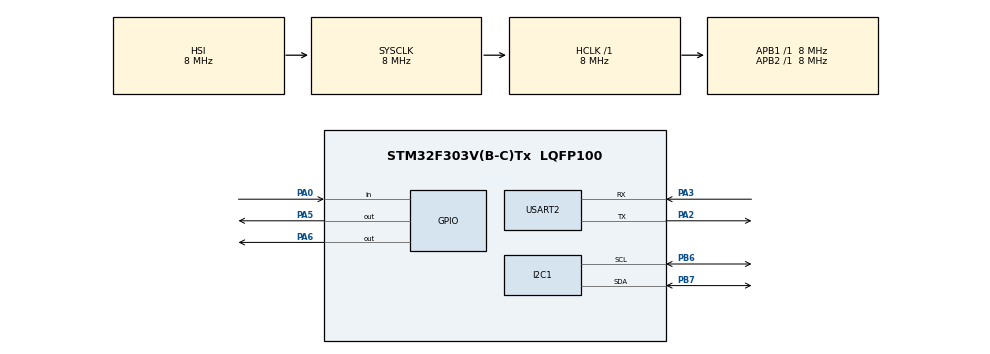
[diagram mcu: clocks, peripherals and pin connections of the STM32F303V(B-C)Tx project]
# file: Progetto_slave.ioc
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I2C1.Timing=0x00201D2B
Mcu.Family=STM32F3
Mcu.Name=STM32F303V(B-C)Tx
Mcu.Package=LQFP100
NVIC.PriorityGroup=NVIC_PRIORITYGROUP_4
NVIC.TIM2_IRQn=true\:0\:0\:false\:false\:true\:true\:true\:true
NVIC.USART2_IRQn=true\:0\:0\:false\:false\:true\:true\:true\:true
PA0.Signal=GPIO_Input
PA2.Mode=Asynchronous
PA2.Signal=USART2_TX
PA3.Mode=Asynchronous
PA3.Signal=USART2_RX
PA5.Signal=GPIO_Output
PA6.Signal=GPIO_Output
PB6.Mode=I2C
PB6.Signal=I2C1_SCL
PB7.Mode=I2C
PB7.Signal=I2C1_SDA
ProjectManager.HeapSize=0x200
ProjectManager.StackSize=0x400
ProjectManager.TargetToolchain=STM32CubeIDE
RCC.AHBFreq_Value=8000000
RCC.APB1Freq_Value=8000000
RCC.APB2Freq_Value=8000000
RCC.CortexFreq_Value=8000000
RCC.HSE_VALUE=8000000
RCC.HSI_VALUE=8000000
RCC.LSE_VALUE=32768
RCC.SYSCLKFreq_VALUE=8000000
USART2.VirtualMode-Asynchronous=VM_ASYNC
VP_TIM2_VS_ClockSourceINT.Mode=Internal
board=custom

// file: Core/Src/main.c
/* USER CODE BEGIN Header */
/**
  ******************************************************************************
  * @file           : main.c
  * @brief          : Slave - Player Controller for Reaction Game with OLED
  *                   STM32F303 Discovery Board
  ******************************************************************************
  */
/* USER CODE END Header */
#include "main.h"
#include <stdio.h>
#include <string.h>

/* USER CODE BEGIN Includes */
#include "ssd1306.h"
#include "ssd1306_fonts.h"
/* USER CODE END Includes */

/* USER CODE BEGIN PTD */
typedef enum {
    SLAVE_IDLE,
    SLAVE_READY,
    SLAVE_BUTTON_PRESSED,
    SLAVE_SHOW_RESULT
} SlaveState_t;
/* USER CODE END PTD */

/* USER CODE BEGIN PD */
#define UART_RX_BUFFER_SIZE 64
#define LED_PIN GPIO_PIN_5          // LED esterno su PA5
#define BUZZER_PIN GPIO_PIN_6       // Buzzer su PA6
#define USER_BUTTON_PIN GPIO_PIN_0  // User button su PA0
#define BUZZER_DURATION 500         // Durata suono buzzer in ms
/* USER CODE END PD */

I2C_HandleTypeDef hi2c1;
TIM_HandleTypeDef htim2;
UART_HandleTypeDef huart2;

/* USER CODE BEGIN PV */
volatile SlaveState_t slave_state = SLAVE_IDLE;
volatile uint8_t button_pressed = 0;
volatile uint32_t button_press_time = 0;
volatile uint8_t game_active = 0;
volatile uint32_t buzzer_start_time = 0;
volatile uint8_t buzzer_active = 0;
volatile uint32_t go_received_time = 0;
volatile uint8_t show_result = 0;
volatile uint8_t player_won = 0;  // 1 = vittoria, 0 = sconfitta
volatile uint32_t result_start_time = 0;  // ✅ NUOVO: tempo inizio visualizzazione risultato

uint8_t uart_rx_buffer[UART_RX_BUFFER_SIZE];
volatile uint8_t uart_rx_index = 0;

char tx_buffer[64];
char display_buffer[32];
/* USER CODE END PV */

void SystemClock_Config(void);
static void MX_GPIO_Init(void);
static void MX_I2C1_Init(void);
static void MX_TIM2_Init(void);
static void MX_USART2_UART_Init(void);
/* USER CODE BEGIN PFP */
void ProcessUARTCommand(uint8_t *buffer, uint8_t len);
void SendReactionTime(uint32_t timestamp);
uint32_t GetCurrentTime(void);
void ActivateBuzzer(void);
void DeactivateBuzzer(void);
void ResetSlave(void);
void ShowGameResult(uint8_t won);
void DisplayIdleScreen(void);
void DisplayReadyScreen(void);
void DisplayGoScreen(void);
void DisplayPressedScreen(void);
/* USER CODE END PFP */

int main(void)
{

  /* MCU Configuration--------------------------------------------------------*/

  /* Reset of all peripherals, Initializes the Flash interface and the Systick. */
  HAL_Init();

  /* Configure the system clock */
  SystemClock_Config();

  /* Initialize all configured peripherals */
  MX_GPIO_Init();
  MX_I2C1_Init();
  MX_TIM2_Init();
  MX_USART2_UART_Init();
  /* USER CODE BEGIN 2 */

  // Inizializza timer per timestamp
  HAL_TIM_Base_Start(&htim2);

  // Inizializza LED e buzzer spenti
  HAL_GPIO_WritePin(GPIOA, LED_PIN, GPIO_PIN_RESET);
  HAL_GPIO_WritePin(GPIOA, BUZZER_PIN, GPIO_PIN_RESET);

  // Inizializza display OLED
  HAL_Delay(100);
  ssd1306_Init();
  DisplayIdleScreen();

  // Abilita ricezione UART interrupt
  HAL_UART_Receive_IT(&huart2, &uart_rx_buffer[uart_rx_index], 1);

  // Stato iniziale
  slave_state = SLAVE_IDLE;

  /* USER CODE END 2 */

  /* Infinite loop */
  while (1)
  {

    /* USER CODE BEGIN 3 */
    uint32_t current_time = GetCurrentTime();

    // Gestione buzzer con timeout
    if (buzzer_active && (current_time - buzzer_start_time >= BUZZER_DURATION)) {
        DeactivateBuzzer();
    }

    switch(slave_state) {
        case SLAVE_IDLE:
            // Aspetta comando di reset/start dal master
            break;

        case SLAVE_READY:
            // Aspetta pressione del user button
            if (HAL_GPIO_ReadPin(GPIOA, USER_BUTTON_PIN) == GPIO_PIN_SET && !button_pressed) {
                button_pressed = 1;
                button_press_time = current_time;
                slave_state = SLAVE_BUTTON_PRESSED;

                // Attiva LED e buzzer
                HAL_GPIO_WritePin(GPIOA, LED_PIN, GPIO_PIN_SET);
                ActivateBuzzer();

                // Mostra messaggio di pressione
                DisplayPressedScreen();

                // Invia tempo di reazione al master
                SendReactionTime(button_press_time);
            }
            break;

        case SLAVE_BUTTON_PRESSED:
            // Aspetta rilascio del pulsante e comando di reset
            if (HAL_GPIO_ReadPin(GPIOA, USER_BUTTON_PIN) == GPIO_PIN_RESET) {
                button_pressed = 0;
            }
            break;

        case SLAVE_SHOW_RESULT:
            // Mostra risultato per 5 secondi poi torna a idle
            // Usa result_start_time invece di HAL_Delay
            if (current_time - result_start_time >= 5000) {
                slave_state = SLAVE_IDLE;
                DisplayIdleScreen();
            }
            break;
    }

    HAL_Delay(5); // Piccolo delay per ridurre carico CPU
  }
  /* USER CODE END 3 */
}

void SystemClock_Config(void)
{
  RCC_OscInitTypeDef RCC_OscInitStruct = {0};
  RCC_ClkInitTypeDef RCC_ClkInitStruct = {0};

  /** Initializes the RCC Oscillators according to the specified parameters
  * in the RCC_OscInitTypeDef structure.
  */
  RCC_OscInitStruct.OscillatorType = RCC_OSCILLATORTYPE_HSI;
  RCC_OscInitStruct.HSIState = RCC_HSI_ON;
  RCC_OscInitStruct.HSICalibrationValue = RCC_HSICALIBRATION_DEFAULT;
  RCC_OscInitStruct.PLL.PLLState = RCC_PLL_NONE;
  if (HAL_RCC_OscConfig(&RCC_OscInitStruct) != HAL_OK)
  {
    Error_Handler();
  }

  /** Initializes the CPU, AHB and APB buses clocks
  */
  RCC_ClkInitStruct.ClockType = RCC_CLOCKTYPE_HCLK|RCC_CLOCKTYPE_SYSCLK
                              |RCC_CLOCKTYPE_PCLK1|RCC_CLOCKTYPE_PCLK2;
  RCC_ClkInitStruct.SYSCLKSource = RCC_SYSCLKSOURCE_HSI;
  RCC_ClkInitStruct.AHBCLKDivider = RCC_SYSCLK_DIV1;
  RCC_ClkInitStruct.APB1CLKDivider = RCC_HCLK_DIV1;
  RCC_ClkInitStruct.APB2CLKDivider = RCC_HCLK_DIV1;

  if (HAL_RCC_ClockConfig(&RCC_ClkInitStruct, FLASH_LATENCY_0) != HAL_OK)
  {
    Error_Handler();
  }
}

static void MX_I2C1_Init(void)
{

  hi2c1.Instance = I2C1;
  hi2c1.Init.Timing = 0x2000090E;  // 400kHz @ 8MHz per STM32F3
  hi2c1.Init.OwnAddress1 = 0;
  hi2c1.Init.AddressingMode = I2C_ADDRESSINGMODE_7BIT;
  hi2c1.Init.DualAddressMode = I2C_DUALADDRESS_DISABLE;
  hi2c1.Init.OwnAddress2 = 0;
  hi2c1.Init.OwnAddress2Masks = I2C_OA2_NOMASK;
  hi2c1.Init.GeneralCallMode = I2C_GENERALCALL_DISABLE;
  hi2c1.Init.NoStretchMode = I2C_NOSTRETCH_DISABLE;
  if (HAL_I2C_Init(&hi2c1) != HAL_OK)
  {
    Error_Handler();
  }

  /** Configure Analogue filter
  */
  if (HAL_I2CEx_ConfigAnalogFilter(&hi2c1, I2C_ANALOGFILTER_ENABLE) != HAL_OK)
  {
    Error_Handler();
  }

  /** Configure Digital filter
  */
  if (HAL_I2CEx_ConfigDigitalFilter(&hi2c1, 0) != HAL_OK)
  {
    Error_Handler();
  }

}

static void MX_TIM2_Init(void)
{

  TIM_ClockConfigTypeDef sClockSourceConfig = {0};
  TIM_MasterConfigTypeDef sMasterConfig = {0};

  htim2.Instance = TIM2;
  htim2.Init.Prescaler = 7999;
  htim2.Init.CounterMode = TIM_COUNTERMODE_UP;
  htim2.Init.Period = 4294967295;
  htim2.Init.ClockDivision = TIM_CLOCKDIVISION_DIV1;
  htim2.Init.AutoReloadPreload = TIM_AUTORELOAD_PRELOAD_DISABLE;
  if (HAL_TIM_Base_Init(&htim2) != HAL_OK)
  {
    Error_Handler();
  }
  sClockSourceConfig.ClockSource = TIM_CLOCKSOURCE_INTERNAL;
  if (HAL_TIM_ConfigClockSource(&htim2, &sClockSourceConfig) != HAL_OK)
  {
    Error_Handler();
  }
  sMasterConfig.MasterOutputTrigger = TIM_TRGO_RESET;
  sMasterConfig.MasterSlaveMode = TIM_MASTERSLAVEMODE_DISABLE;
  if (HAL_TIMEx_MasterConfigSynchronization(&htim2, &sMasterConfig) != HAL_OK)
  {
    Error_Handler();
  }

}

static void MX_USART2_UART_Init(void)
{

  huart2.Instance = USART2;
  huart2.Init.BaudRate = 115200;
  huart2.Init.WordLength = UART_WORDLENGTH_8B;
  huart2.Init.StopBits = UART_STOPBITS_1;
  huart2.Init.Parity = UART_PARITY_NONE;
  huart2.Init.Mode = UART_MODE_TX_RX;
  huart2.Init.HwFlowCtl = UART_HWCONTROL_NONE;
  huart2.Init.OverSampling = UART_OVERSAMPLING_16;
  if (HAL_UART_Init(&huart2) != HAL_OK)
  {
    Error_Handler();
  }

}

static void MX_GPIO_Init(void)
{
  GPIO_InitTypeDef GPIO_InitStruct = {0};

  /* GPIO Ports Clock Enable */
  __HAL_RCC_GPIOA_CLK_ENABLE();
  __HAL_RCC_GPIOB_CLK_ENABLE();

  /*Configure GPIO pin Output Level */
  HAL_GPIO_WritePin(GPIOA, LED_PIN|BUZZER_PIN, GPIO_PIN_RESET);

  /*Configure GPIO pin : PA0 - User Button */
  GPIO_InitStruct.Pin = USER_BUTTON_PIN;
  GPIO_InitStruct.Mode = GPIO_MODE_INPUT;
  GPIO_InitStruct.Pull = GPIO_NOPULL;
  HAL_GPIO_Init(GPIOA, &GPIO_InitStruct);

  /*Configure GPIO pins : PA5 PA6 - LED e Buzzer */
  GPIO_InitStruct.Pin = LED_PIN|BUZZER_PIN;
  GPIO_InitStruct.Mode = GPIO_MODE_OUTPUT_PP;
  GPIO_InitStruct.Pull = GPIO_NOPULL;
  GPIO_InitStruct.Speed = GPIO_SPEED_FREQ_LOW;
  HAL_GPIO_Init(GPIOA, &GPIO_InitStruct);

  /*Configure GPIO pins : PB6 PB7 - I2C1 SCL/SDA per OLED */
  GPIO_InitStruct.Pin = GPIO_PIN_6|GPIO_PIN_7;
  GPIO_InitStruct.Mode = GPIO_MODE_AF_OD;      // Open-drain per I2C
  GPIO_InitStruct.Pull = GPIO_PULLUP;          // Pull-up interno
  GPIO_InitStruct.Speed = GPIO_SPEED_FREQ_HIGH;
  GPIO_InitStruct.Alternate = GPIO_AF4_I2C1;   // AF4 per I2C1 su F303
  HAL_GPIO_Init(GPIOB, &GPIO_InitStruct);

}

/* USER CODE BEGIN 4 */

void ProcessUARTCommand(uint8_t *buffer, uint8_t len) {
    // Comando di reset per iniziare nuovo gioco
    if (strstr((char*)buffer, "RESET") != NULL) {
        ResetSlave();
        slave_state = SLAVE_READY;
        game_active = 1;

        // Mostra schermo di gioco pronto
        DisplayReadyScreen();
    }

    // Comando GO - il LED si è acceso
    if (strstr((char*)buffer, "GO") != NULL) {
        go_received_time = GetCurrentTime();

        // Mostra schermo GO
        DisplayGoScreen();
    }

    // Comando WIN - questo slave ha vinto
    if (strstr((char*)buffer, "WIN") != NULL) {
        ShowGameResult(1);  // 1 = vittoria
        slave_state = SLAVE_SHOW_RESULT;
    }

    // Comando LOSE - questo slave ha perso
    if (strstr((char*)buffer, "LOSE") != NULL) {
        ShowGameResult(0);  // 0 = sconfitta
        slave_state = SLAVE_SHOW_RESULT;
    }
}

void SendReactionTime(uint32_t button_timestamp) {
    // Calcola tempo di reazione dal comando GO
    uint32_t reaction_time = button_timestamp - go_received_time;
    sprintf(tx_buffer, "TIME:%lu\r\n", reaction_time);
    HAL_UART_Transmit(&huart2, (uint8_t*)tx_buffer, strlen(tx_buffer), 100);
}

uint32_t GetCurrentTime(void) {
    return __HAL_TIM_GET_COUNTER(&htim2);
}

void ActivateBuzzer(void) {
    HAL_GPIO_WritePin(GPIOA, BUZZER_PIN, GPIO_PIN_SET);
    buzzer_start_time = GetCurrentTime();
    buzzer_active = 1;
}

void DeactivateBuzzer(void) {
    HAL_GPIO_WritePin(GPIOA, BUZZER_PIN, GPIO_PIN_RESET);
    buzzer_active = 0;
}

void ResetSlave(void) {
    // Reset variabili di stato
    button_pressed = 0;
    button_press_time = 0;
    game_active = 0;
    go_received_time = 0;
    show_result = 0;
    player_won = 0;
    result_start_time = 0; // ✅ NUOVO: reset tempo risultato

    // Spegni LED e buzzer
    HAL_GPIO_WritePin(GPIOA, LED_PIN, GPIO_PIN_RESET);
    DeactivateBuzzer();

    slave_state = SLAVE_IDLE;
}

// Funzione per mostrare risultato del gioco
void ShowGameResult(uint8_t won) {
    ssd1306_Fill(Black);

    if (won) {
        // Vittoria
        ssd1306_SetCursor(15, 15);
        ssd1306_WriteString("HAI", Font_11x18, White);
        ssd1306_SetCursor(10, 35);
        ssd1306_WriteString("VINTO!", Font_11x18, White);

        // ✅ CORREZIONE: Buzzer breve per vittoria (già gestito dal timeout nel main loop)
        ActivateBuzzer();
    } else {
        // Sconfitta
        ssd1306_SetCursor(15, 15);
        ssd1306_WriteString("HAI", Font_11x18, White);
        ssd1306_SetCursor(10, 35);
        ssd1306_WriteString("PERSO!", Font_11x18, White);
    }

    ssd1306_UpdateScreen();
    show_result = 1;
    player_won = won;
    result_start_time = GetCurrentTime(); // ✅ NUOVO: salva momento inizio risultato
}

// Schermo idle
void DisplayIdleScreen(void) {
    ssd1306_Fill(Black);
    ssd1306_SetCursor(0, 15);
    ssd1306_WriteString("REACTION", Font_11x18, White);
    ssd1306_SetCursor(0, 35);
    ssd1306_WriteString("GAME", Font_11x18, White);
    ssd1306_SetCursor(0, 55);
    ssd1306_WriteString("Waiting...", Font_7x10, White);
    ssd1306_UpdateScreen();
}

// Schermo pronto
void DisplayReadyScreen(void) {
    ssd1306_Fill(Black);
    ssd1306_SetCursor(10, 15);
    ssd1306_WriteString("READY!", Font_11x18, White);
    ssd1306_SetCursor(0, 40);
    ssd1306_WriteString("Wait for LED...", Font_7x10, White);
    ssd1306_UpdateScreen();
}

// Schermo GO
void DisplayGoScreen(void) {
    ssd1306_Fill(Black);
    ssd1306_SetCursor(30, 25);
    ssd1306_WriteString("GO!", Font_11x18, White);
    ssd1306_UpdateScreen();
}

// Schermo pulsante premuto
void DisplayPressedScreen(void) {
    ssd1306_Fill(Black);
    ssd1306_SetCursor(20, 25);
    ssd1306_WriteString("PRESSED!", Font_11x18, White);
    ssd1306_UpdateScreen();
}

// Callback UART per ricezione comandi dal master
void HAL_UART_RxCpltCallback(UART_HandleTypeDef *huart) {
    if (huart->Instance == USART2) {
        uart_rx_index++;
        if (uart_rx_index >= UART_RX_BUFFER_SIZE - 1 ||
            uart_rx_buffer[uart_rx_index-1] == '\n') {
            uart_rx_buffer[uart_rx_index] = '\0';
            ProcessUARTCommand(uart_rx_buffer, uart_rx_index);
            uart_rx_index = 0;
        }
        HAL_UART_Receive_IT(&huart2, &uart_rx_buffer[uart_rx_index], 1);
    }
}

/* USER CODE END 4 */

void Error_Handler(void)
{
  /* USER CODE BEGIN Error_Handler_Debug */
  /* User can add his own implementation to report the HAL error return state */
  __disable_irq();
  while (1)
  {
    // Lampeggia LED in caso di errore
    HAL_GPIO_WritePin(GPIOA, LED_PIN, GPIO_PIN_SET);
    HAL_Delay(200);
    HAL_GPIO_WritePin(GPIOA, LED_PIN, GPIO_PIN_RESET);
    HAL_Delay(200);
  }
  /* USER CODE END Error_Handler_Debug */
}
